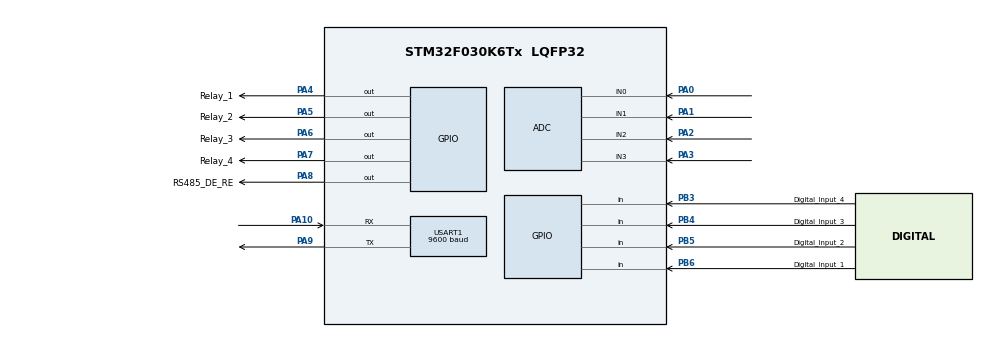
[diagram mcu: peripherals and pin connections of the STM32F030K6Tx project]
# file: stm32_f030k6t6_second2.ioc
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Mcu.Family=STM32F0
Mcu.Name=STM32F030K6Tx
Mcu.Package=LQFP32
NVIC.USART1_IRQn=true\:0\:0\:false\:false\:true\:true\:true\:true
PA0.Mode=IN0
PA0.Signal=ADC_IN0
PA1.Mode=IN1
PA1.Signal=ADC_IN1
PA10.Mode=Asynchronous
PA10.Signal=USART1_RX
PA2.Mode=IN2
PA2.Signal=ADC_IN2
PA3.Mode=IN3
PA3.Signal=ADC_IN3
PA4.GPIO_Label=Relay_1
PA4.Signal=GPIO_Output
PA5.GPIO_Label=Relay_2
PA5.Signal=GPIO_Output
PA6.GPIO_Label=Relay_3
PA6.Signal=GPIO_Output
PA7.GPIO_Label=Relay_4
PA7.Signal=GPIO_Output
PA8.GPIO_Label=RS485_DE_RE
PA8.Signal=GPIO_Output
PA9.Mode=Asynchronous
PA9.Signal=USART1_TX
PB3.GPIO_Label=Digital_Input_4
PB3.Signal=GPIO_Input
PB4.GPIO_Label=Digital_Input_3
PB4.Signal=GPIO_Input
PB5.GPIO_Label=Digital_Input_2
PB5.Signal=GPIO_Input
PB6.GPIO_Label=Digital_Input_1
PB6.Signal=GPIO_Input
ProjectManager.HeapSize=0x200
ProjectManager.StackSize=0x400
ProjectManager.TargetToolchain=STM32CubeIDE
USART1.BaudRate=9600
USART1.VirtualMode-Asynchronous=VM_ASYNC
board=custom

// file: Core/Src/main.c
/* USER CODE BEGIN Header */
/**
  ******************************************************************************
  * @file           : main.c
  * @brief          : Main program body
  ******************************************************************************
  * @attention
  *
  * Copyright (c) 2026 STMicroelectronics.
  * All rights reserved.
  *
  * This software is licensed under terms that can be found in the LICENSE file
  * in the root directory of this software component.
  * If no LICENSE file comes with this software, it is provided AS-IS.
  *
  ******************************************************************************
  */
/* USER CODE END Header */
#include "main.h"

/* USER CODE BEGIN Includes */
#include <stdio.h>
#include <stdint.h>
#include <string.h>
/* USER CODE END Includes */

ADC_HandleTypeDef hadc;

UART_HandleTypeDef huart1;

/* USER CODE BEGIN PV */

#define RX_BUFFER_SIZE    64
#define MODBUS_SLAVE_ADDR 0x01

uint8_t          rxBuffer[RX_BUFFER_SIZE];
uint8_t          rxWorkBuf[RX_BUFFER_SIZE]; // safe copy made inside ISR
uint16_t         rxWorkSize   = 0;
volatile uint8_t modbusFrameReady = 0;      // set by ISR, cleared by main loop
volatile uint8_t txInProgress     = 0;      // blocks ISR from treating echo as data

#define NUM_COILS 4
uint8_t      coilStatus[NUM_COILS] = {0};   // shadow register — truth for relay state
uint16_t     coilPinMap[NUM_COILS]  = {Relay_1_Pin,      Relay_2_Pin,
                                        Relay_3_Pin,      Relay_4_Pin};
GPIO_TypeDef* coilPortMap[NUM_COILS] = {Relay_1_GPIO_Port, Relay_2_GPIO_Port,
                                         Relay_3_GPIO_Port, Relay_4_GPIO_Port};

// Input circuit: 10k divider + 1k series → active HIGH (signal = HIGH)
#define NUM_DIN 4
volatile uint8_t dinLatch[NUM_DIN] = {0}; // stays 1 until Modbus reads it

uint16_t     dinPinMap[NUM_DIN]  = {Digital_Input_1_Pin, Digital_Input_2_Pin,
                                     Digital_Input_3_Pin, Digital_Input_4_Pin};
GPIO_TypeDef* dinPortMap[NUM_DIN] = {Digital_Input_1_GPIO_Port, Digital_Input_2_GPIO_Port,
                                      Digital_Input_3_GPIO_Port, Digital_Input_4_GPIO_Port};

// ── ADC ─────────────────────────────────────────────────────────────────────
// AIN1→PA3 AIN2→PA2 AIN3→PA1 AIN4→PA0  (schematic page 2)
uint16_t adcValue[4] = {0};

/* USER CODE END PV */

void SystemClock_Config(void);
static void MX_GPIO_Init(void);
static void MX_ADC_Init(void);
static void MX_USART1_UART_Init(void);
/* USER CODE BEGIN PFP */

void     My_ADC_Init(void);
uint16_t My_ADC_Read(uint32_t channel);
void     Coil_Write(uint8_t coilIndex, uint8_t value);
uint8_t  Coil_Read(uint8_t coilIndex);

uint8_t  DIn_Read(uint8_t dinIndex);
uint16_t Modbus_CRC16(uint8_t *buf, uint16_t len);
void     Modbus_Handle(uint8_t *frame, uint16_t size);

/* USER CODE END PFP */

int main(void)
{

  /* MCU Configuration--------------------------------------------------------*/

  /* Reset of all peripherals, Initializes the Flash interface and the Systick. */
  HAL_Init();

  /* Configure the system clock */
  SystemClock_Config();

  /* Initialize all configured peripherals */
  MX_GPIO_Init();
  MX_ADC_Init();
  MX_USART1_UART_Init();
  /* USER CODE BEGIN 2 */
  My_ADC_Init(); // ADC self-calibration

   // Arm UART receiver — must be called once before the main loop
   HAL_UARTEx_ReceiveToIdle_IT(&huart1, rxBuffer, RX_BUFFER_SIZE);

  /* USER CODE END 2 */

  /* Infinite loop */
  while (1)
  {

    /* USER CODE BEGIN 3 */
	  /* USER CODE BEGIN 3 */

	      // ── 1. Process any received Modbus frame ────────────────────────────────
	      // Modbus_Handle runs here in main context, never inside the ISR.
	      // This avoids blocking the ISR with UART TX and ADC reads.
	      if (modbusFrameReady)
	      {
	        modbusFrameReady = 0;
	        Modbus_Handle(rxWorkBuf, rxWorkSize);
	      }

	      // ── 2. Sample all four ADC channels ─────────────────────────────────────
	      // Correct order matches schematic: AIN1=PA3 … AIN4=PA0
	      adcValue[0] = My_ADC_Read(ADC_CHANNEL_3); // AIN1 → PA3
	      adcValue[1] = My_ADC_Read(ADC_CHANNEL_2); // AIN2 → PA2
	      adcValue[2] = My_ADC_Read(ADC_CHANNEL_1); // AIN3 → PA1
	      adcValue[3] = My_ADC_Read(ADC_CHANNEL_0); // AIN4 → PA0

	      // ── 3. Update digital input latch (for Modbus FC02) ─────────────────────────
	      for (int i = 0; i < NUM_DIN; i++) {
	          if (DIn_Read(i)) dinLatch[i] = 1;   // set on HIGH; FC02 clears it
	      }

	      // ── 4. Refresh relay shadow ──────────────────────────────────────────────────
	      for (int i = 0; i < NUM_COILS; i++)
	          coilStatus[i] = Coil_Read(i);

  }
  /* USER CODE END 3 */
}

void SystemClock_Config(void)
{
  RCC_OscInitTypeDef RCC_OscInitStruct = {0};
  RCC_ClkInitTypeDef RCC_ClkInitStruct = {0};
  RCC_PeriphCLKInitTypeDef PeriphClkInit = {0};

  /** Initializes the RCC Oscillators according to the specified parameters
  * in the RCC_OscInitTypeDef structure.
  */
  RCC_OscInitStruct.OscillatorType = RCC_OSCILLATORTYPE_HSI|RCC_OSCILLATORTYPE_HSI14;
  RCC_OscInitStruct.HSIState = RCC_HSI_ON;
  RCC_OscInitStruct.HSI14State = RCC_HSI14_ON;
  RCC_OscInitStruct.HSICalibrationValue = RCC_HSICALIBRATION_DEFAULT;
  RCC_OscInitStruct.HSI14CalibrationValue = 16;
  RCC_OscInitStruct.PLL.PLLState = RCC_PLL_NONE;
  if (HAL_RCC_OscConfig(&RCC_OscInitStruct) != HAL_OK)
  {
    Error_Handler();
  }

  /** Initializes the CPU, AHB and APB buses clocks
  */
  RCC_ClkInitStruct.ClockType = RCC_CLOCKTYPE_HCLK|RCC_CLOCKTYPE_SYSCLK
                              |RCC_CLOCKTYPE_PCLK1;
  RCC_ClkInitStruct.SYSCLKSource = RCC_SYSCLKSOURCE_HSI;
  RCC_ClkInitStruct.AHBCLKDivider = RCC_SYSCLK_DIV1;
  RCC_ClkInitStruct.APB1CLKDivider = RCC_HCLK_DIV1;

  if (HAL_RCC_ClockConfig(&RCC_ClkInitStruct, FLASH_LATENCY_0) != HAL_OK)
  {
    Error_Handler();
  }
  PeriphClkInit.PeriphClockSelection = RCC_PERIPHCLK_USART1;
  PeriphClkInit.Usart1ClockSelection = RCC_USART1CLKSOURCE_PCLK1;
  if (HAL_RCCEx_PeriphCLKConfig(&PeriphClkInit) != HAL_OK)
  {
    Error_Handler();
  }
}

static void MX_ADC_Init(void)
{

  ADC_ChannelConfTypeDef sConfig = {0};

  /** Configure the global features of the ADC (Clock, Resolution, Data Alignment and number of conversion)
  */
  hadc.Instance = ADC1;
  hadc.Init.ClockPrescaler = ADC_CLOCK_ASYNC_DIV1;
  hadc.Init.Resolution = ADC_RESOLUTION_12B;
  hadc.Init.DataAlign = ADC_DATAALIGN_RIGHT;
  hadc.Init.ScanConvMode = ADC_SCAN_DIRECTION_FORWARD;
  hadc.Init.EOCSelection = ADC_EOC_SINGLE_CONV;
  hadc.Init.LowPowerAutoWait = DISABLE;
  hadc.Init.LowPowerAutoPowerOff = DISABLE;
  hadc.Init.ContinuousConvMode = DISABLE;
  hadc.Init.DiscontinuousConvMode = DISABLE;
  hadc.Init.ExternalTrigConv = ADC_SOFTWARE_START;
  hadc.Init.ExternalTrigConvEdge = ADC_EXTERNALTRIGCONVEDGE_NONE;
  hadc.Init.DMAContinuousRequests = DISABLE;
  hadc.Init.Overrun = ADC_OVR_DATA_OVERWRITTEN;
  if (HAL_ADC_Init(&hadc) != HAL_OK)
  {
    Error_Handler();
  }

  /** Configure for the selected ADC regular channel to be converted.
  */
  sConfig.Channel = ADC_CHANNEL_0;
  sConfig.Rank = ADC_RANK_CHANNEL_NUMBER;
  sConfig.SamplingTime = ADC_SAMPLETIME_1CYCLE_5;
  if (HAL_ADC_ConfigChannel(&hadc, &sConfig) != HAL_OK)
  {
    Error_Handler();
  }

  /** Configure for the selected ADC regular channel to be converted.
  */
  sConfig.Channel = ADC_CHANNEL_1;
  if (HAL_ADC_ConfigChannel(&hadc, &sConfig) != HAL_OK)
  {
    Error_Handler();
  }

  /** Configure for the selected ADC regular channel to be converted.
  */
  sConfig.Channel = ADC_CHANNEL_2;
  if (HAL_ADC_ConfigChannel(&hadc, &sConfig) != HAL_OK)
  {
    Error_Handler();
  }

  /** Configure for the selected ADC regular channel to be converted.
  */
  sConfig.Channel = ADC_CHANNEL_3;
  if (HAL_ADC_ConfigChannel(&hadc, &sConfig) != HAL_OK)
  {
    Error_Handler();
  }

}

static void MX_USART1_UART_Init(void)
{

  huart1.Instance = USART1;
  huart1.Init.BaudRate = 9600;
  huart1.Init.WordLength = UART_WORDLENGTH_8B;
  huart1.Init.StopBits = UART_STOPBITS_1;
  huart1.Init.Parity = UART_PARITY_NONE;
  huart1.Init.Mode = UART_MODE_TX_RX;
  huart1.Init.HwFlowCtl = UART_HWCONTROL_NONE;
  huart1.Init.OverSampling = UART_OVERSAMPLING_16;
  huart1.Init.OneBitSampling = UART_ONE_BIT_SAMPLE_DISABLE;
  huart1.AdvancedInit.AdvFeatureInit = UART_ADVFEATURE_NO_INIT;
  if (HAL_UART_Init(&huart1) != HAL_OK)
  {
    Error_Handler();
  }

}

static void MX_GPIO_Init(void)
{
  GPIO_InitTypeDef GPIO_InitStruct = {0};

  /* GPIO Ports Clock Enable */
  __HAL_RCC_GPIOA_CLK_ENABLE();
  __HAL_RCC_GPIOB_CLK_ENABLE();

  /*Configure GPIO pin Output Level */
  HAL_GPIO_WritePin(GPIOA, Relay_1_Pin|Relay_2_Pin|Relay_3_Pin|Relay_4_Pin
                          |RS485_DE_RE_Pin, GPIO_PIN_RESET);

  /*Configure GPIO pins : Relay_1_Pin Relay_2_Pin Relay_3_Pin Relay_4_Pin
                           RS485_DE_RE_Pin */
  GPIO_InitStruct.Pin = Relay_1_Pin|Relay_2_Pin|Relay_3_Pin|Relay_4_Pin
                          |RS485_DE_RE_Pin;
  GPIO_InitStruct.Mode = GPIO_MODE_OUTPUT_PP;
  GPIO_InitStruct.Pull = GPIO_NOPULL;
  GPIO_InitStruct.Speed = GPIO_SPEED_FREQ_LOW;
  HAL_GPIO_Init(GPIOA, &GPIO_InitStruct);

  /*Configure GPIO pins : Digital_Input_4_Pin Digital_Input_3_Pin Digital_Input_2_Pin Digital_Input_1_Pin */
  GPIO_InitStruct.Pin = Digital_Input_4_Pin|Digital_Input_3_Pin|Digital_Input_2_Pin|Digital_Input_1_Pin;
  GPIO_InitStruct.Mode = GPIO_MODE_INPUT;
  GPIO_InitStruct.Pull = GPIO_NOPULL;
  HAL_GPIO_Init(GPIOB, &GPIO_InitStruct);

}

/* USER CODE BEGIN 4 */
void My_ADC_Init(void)
{

	 HAL_ADC_Stop(&hadc);                          // ensure ADC is idle
	    if (HAL_ADCEx_Calibration_Start(&hadc) != HAL_OK) // now safe
	        Error_Handler();
}

uint16_t My_ADC_Read(uint32_t channel)
{
	 HAL_ADC_Stop(&hadc);          // ensure clean state before reconfiguring
	    ADC1->CHSELR = 0;             // clear all channels - THE critical fix
	    ADC_ChannelConfTypeDef sConfig = {0};
	    sConfig.Channel      = channel;
	    sConfig.Rank         = ADC_RANK_CHANNEL_NUMBER;
	    sConfig.SamplingTime = ADC_SAMPLETIME_55CYCLES_5;
	    if (HAL_ADC_ConfigChannel(&hadc, &sConfig) != HAL_OK)
	        return 0xFFFF;            // distinct error sentinel
	    if (HAL_ADC_Start(&hadc) != HAL_OK)
	        return 0xFFFF;
	    if (HAL_ADC_PollForConversion(&hadc, 10) != HAL_OK)
	        return 0xFFFF;
	    uint16_t value = HAL_ADC_GetValue(&hadc);
	    HAL_ADC_Stop(&hadc);
	    return value;
}

void Coil_Write(uint8_t coilIndex, uint8_t value)
{
    if (coilIndex < NUM_COILS) {
        coilStatus[coilIndex] = value ? 1 : 0;
        HAL_GPIO_WritePin(coilPortMap[coilIndex], coilPinMap[coilIndex],
                          value ? GPIO_PIN_SET : GPIO_PIN_RESET);
    }
}

uint8_t Coil_Read(uint8_t coilIndex)
{
    if (coilIndex < NUM_COILS) {
        return coilStatus[coilIndex];  // Read shadow, not GPIO IDR
    }
    return 0;
}

// ── Digital inputs ───────────────────────────────────────────────────────────
// Active HIGH: signal applied → HIGH → returns 1
// Nothing connected → divider pulls LOW → returns 0

uint8_t DIn_Read(uint8_t dinIndex)
{
  if (dinIndex < NUM_DIN)
    return (HAL_GPIO_ReadPin(dinPortMap[dinIndex], dinPinMap[dinIndex]) == GPIO_PIN_SET) ? 1 : 0;
  return 0;
}

uint16_t Modbus_CRC16(uint8_t *buf, uint16_t len)
{
    uint16_t crc = 0xFFFF;
    for (uint16_t pos = 0; pos < len; pos++) {
        crc ^= buf[pos];
        for (int i = 0; i < 8; i++) {
            if (crc & 0x0001) {
                crc >>= 1;
                crc ^= 0xA001;
            } else {
                crc >>= 1;
        }
        }
    }
    return crc;
}

void Modbus_Handle(uint8_t *frame, uint16_t size)
{
	// Minimum valid frame: addr + func + 2 data + 2 CRC = 6 bytes
    if (size < 6) return;

    uint16_t crcCalc = Modbus_CRC16(frame, size-2);
    uint16_t crcRecv = frame[size-2] | (frame[size-1] << 8);
    if (crcCalc != crcRecv) return;

    if (frame[0] != MODBUS_SLAVE_ADDR) return;

    uint8_t func = frame[1];
    uint8_t txBuf[34];
    uint16_t txLen = 0;

    // ── FC01: Read Coils ───────────────────────────────────────────────────────
     // Query:    01 01 00 00 00 04 3D C9
     // Response: 01 01 01 <coil_byte> CRC_L CRC_H
     //           coil_byte bit0=relay1 … bit3=relay4

    if (func == 0x01) { // Read Coils
        uint16_t start = (frame[2] << 8) | frame[3];
        uint16_t qty   = (frame[4] << 8) | frame[5];

        if (qty > NUM_COILS) return; // sanity guard

        txBuf[0] = frame[0];
        txBuf[1] = func;
        txBuf[2] = (qty+7)/8;
        memset(&txBuf[3], 0,  txBuf[2]);

        for (int i=0; i< (int)qty; i++) {
            if (Coil_Read(start+i))
                txBuf[3 + (i/8)] |= (1 << (i%8));
        }
        txLen = 3 + txBuf[2];
    }

        // ── FC02: Read Discrete Inputs ─────────────────────────────────────────────
         // Query:    01 02 00 00 00 04 79 C9
         // Response: 01 02 01 <din_byte> CRC_L CRC_H
         //           din_byte bit0=DIN1 … bit3=DIN4
    else if (func == 0x02)
     {
       uint16_t start = (frame[2] << 8) | frame[3];
       uint16_t qty   = (frame[4] << 8) | frame[5];

       if (qty > NUM_DIN) return; // sanity guard

       txBuf[0] = frame[0];
       txBuf[1] = func;
       txBuf[2] = (qty + 7) / 8;   // byte count
       memset(&txBuf[3], 0, txBuf[2]);

       for (int i = 0; i < (int)qty; i++) {
           if (dinLatch[start + i]) {
               txBuf[3 + (i / 8)] |= (1 << (i % 8));
               dinLatch[start + i] = 0; // clear after reading — auto resets
           }

       }
       txLen = 3 + txBuf[2];
     }

    // ── FC04: Read Input Registers (ADC) ───────────────────────────────────────
    // Query:    01 04 00 00 00 04 F1 C9
    // Response: 01 04 08 HH LL HH LL HH LL HH LL CRC_L CRC_H
    //           Register 0=AIN1(PA3) 1=AIN2(PA2) 2=AIN3(PA1) 3=AIN4(PA0)
    else if (func == 0x04)
    {
      uint16_t start = (frame[2] << 8) | frame[3];
      uint16_t qty   = (frame[4] << 8) | frame[5];

      if (qty == 0 || qty > 4) return; // sanity guard

      txBuf[0] = frame[0];
      txBuf[1] = func;
      txBuf[2] = qty * 2; // byte count

      for (int i = 0; i < (int)qty; i++) {
        uint16_t val = 0;
        switch (start + i) {
          case 0: val = adcValue[0]; break; // AIN1 PA3
          case 1: val = adcValue[1]; break; // AIN2 PA2
          case 2: val = adcValue[2]; break; // AIN3 PA1
          case 3: val = adcValue[3]; break; // AIN4 PA0
          default: val = 0; break;
        }
        txBuf[3 + i * 2] = (val >> 8) & 0xFF; // high byte first (big-endian)
        txBuf[4 + i * 2] =  val       & 0xFF;
      }
      txLen = 3 + qty * 2;
    }

    // ── FC05: Write Single Coil ────────────────────────────────────────────────
      // Query ON:  01 05 00 00 FF 00 8C 3A   (coil 0 ON)
      // Query OFF: 01 05 00 00 00 00 CD CA   (coil 0 OFF)
      // Response echoes the request unchanged
      else if (func == 0x05)
      {
        uint16_t coil = (frame[2] << 8) | frame[3];
        uint16_t val  = (frame[4] << 8) | frame[5];

        if (coil >= NUM_COILS) return; // sanity guard

        Coil_Write(coil, (val == 0xFF00) ? 1 : 0);
        memcpy(txBuf, frame, 6); // echo first 6 bytes (addr+func+addr+val)
        txLen = 6;
      }

      // Unknown function — nothing to transmit
      else
      {
        return;
      }

    // ── Transmit response

    uint16_t crc = Modbus_CRC16(txBuf, txLen);
    txBuf[txLen++] = crc & 0xFF;
    txBuf[txLen++] = (crc >> 8) & 0xFF;

    txInProgress = 1; // ISR will discard any echo bytes during TX

    HAL_GPIO_WritePin(RS485_DE_RE_GPIO_Port, RS485_DE_RE_Pin, GPIO_PIN_SET);
    HAL_Delay(1);                                          // DE settling time (~1 bit period)
    HAL_UART_Transmit(&huart1, txBuf, txLen, HAL_MAX_DELAY);
    HAL_Delay(2);                                          // let last stop bit leave shift register
    HAL_GPIO_WritePin(RS485_DE_RE_GPIO_Port, RS485_DE_RE_Pin, GPIO_PIN_RESET);
    HAL_Delay(1);                                          // RE settling before listening again

    txInProgress = 0; // safe to receive again
  }

// ── UART ISR callback ─────────────────────────────────────────────────────────
// Fires when UART goes idle after receiving bytes (ReceiveToIdle mode).
// Keep this SHORT — just copy buffer and set flag, let main loop process it.

void HAL_UARTEx_RxEventCallback(UART_HandleTypeDef *huart, uint16_t Size)
{
  if (huart->Instance == USART1)
  {
    if (txInProgress)
    {
      // Own TX echo received — discard silently, re-arm and return
      HAL_UARTEx_ReceiveToIdle_IT(&huart1, rxBuffer, RX_BUFFER_SIZE);
      return;
    }

    // Minimum Modbus frame = 6 bytes (addr+func+2data+2crc)
    if (!modbusFrameReady && Size >= 6)
    {
      memcpy(rxWorkBuf, rxBuffer, Size);
      rxWorkSize       = Size;
      modbusFrameReady = 1;
    }

    // Always re-arm — must not miss the next frame
    HAL_UARTEx_ReceiveToIdle_IT(&huart1, rxBuffer, RX_BUFFER_SIZE);
  }
}
/* USER CODE END 4 */

void Error_Handler(void)
{
  __disable_irq();
  while (1)
  {
  }
}
